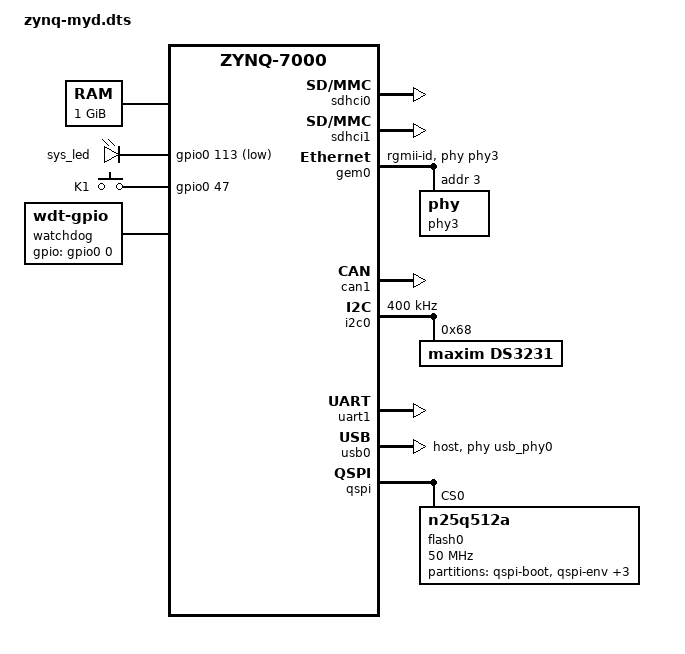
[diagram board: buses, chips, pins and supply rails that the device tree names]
// SPDX-License-Identifier: GPL-2.0+
/*
 *  Copyright (C) 2011 - 2015 Xilinx
 *  Copyright (C) 2012 National Instruments Corp.
 */
/dts-v1/;
#include "zynq-7000.dtsi"
#include "zynq-MYC-7z010_020-video.dtsi"
// #include "zynq-MYC-7z015-video.dtsi"
// #include "zynq-MYC-7z015-pcie.dtsi"

/ {
	chosen {
		bootargs = "console=ttyPS0,115200 earlyprintk root=/dev/mmcblk0p2 rw rootwait clk_ignore_unused cma=128M";
		stdout-path = "serial0:115200n8";
	};
	
    aliases {
		ethernet0 = &gem0;
		i2c0 = &i2c0;
		serial0 = &uart1;
		spi0 = &qspi;
		mmc0 = &sdhci0;
		usb0 = &usb0;
	};

    cpus {
		#address-cells = <1>;
		#size-cells = <0>;

		cpu0: cpu@0 {
			compatible = "arm,cortex-a9";
			device_type = "cpu";
			reg = <0>;
			clocks = <&clkc 4>;
			clock-latency = <1000>;
			cpu0-supply = <&regulator_vccpint>;
			operating-points = <
				/* kHz    uV */
                766666  1000000
				666667  1000000
				333334  1000000
			>;
		};

		cpu1: cpu@1 {
			compatible = "arm,cortex-a9";
			device_type = "cpu";
			reg = <1>;
			clocks = <&clkc 3>;
		};
	};

    memory@0 {
		device_type = "memory";
		reg = <0x0 0x40000000>;
	};

    gpio-leds {
		compatible = "gpio-leds";

		d2 {
			label = "sys_led";
			gpios = <&gpio0 113 0x1>;
			default-state = "on";
			linux,default-trigger = "heartbeat";
		};
	};

	gpio-keys {
		compatible = "gpio-keys";
		#address-cells = <0x1>;
		#size-cells = <0x0>;
		autorepeat;

		K1 {
			label = "K1";
			gpios = <&gpio0 47 0x0>;
			linux,code = <0x66>;
			gpio-key,wakeup;
			autorepeat;
		};
	};

	usb_phy0: phy0@e0002000 {
		compatible = "ulpi-phy";
		#phy-cells = <0>;
		reg = <0xe0002000 0x1000>;
		view-port = <0x0170>;
		drv-vbus;
	};

    watchdog: watchdog {
		compatible = "linux,wdt-gpio";
		gpios = <&gpio0 0 0x0>;
		hw_algo = "toggle";
		hw_margin_ms = <1600>;
	};
};

&sdhci0 {
	status = "okay";
    xlnx,has-cd = <0x1>;
	xlnx,has-power = <0x0>;
	xlnx,has-wp = <0x1>;
    u-boot,dm-pre-reloc;
	broken-mmc-highspeed;
	no-1-8-v;
};

&sdhci1 {
    status = "okay";
    u-boot,dm-pre-reloc;
	no-1-8-v;
    xlnx,has-cd = <0x1>;
	xlnx,has-power = <0x0>;
    xlnx,has-wp = <0x1>;
    broken-cd;
    wp-inverted;
};

&gem0 {
	local-mac-address = [00 0a 35 00 00 00];
	phy-mode = "rgmii-id";
	status = "okay";
	xlnx,ptp-enet-clock = <0x69f6bcb>;
	phy-handle = <&phy3>;

	phy3: phy@3 {
		reg = <0x3>;
	};
};

&gem1 {
	status = "disable";
	phy-mode = "rgmii-id";
	phy-handle = <&phy6>;

	phy6: phy@6 {
		// compatible = "ethernet-phy-id0022.1620"; //use Micrel phy driver
		compatible = "ethernet-phy-id0174.0c00"; //use Xilinx phy driver
		phy-reset-gpio = <&gpio0 0x6f 1>;
		xlnx,phy-type = <0x5>;
		reg = <0x6>;
	};
};

&can1 {
	status = "okay";
};

&gpio0 {
	compatible = "xlnx,zynq-gpio-1.0";
	#gpio-cells = <0x2>;
	clocks = <0x1 0x2a>;
	gpio-controller;
	interrupt-parent = <0x3>;
	interrupts = <0x0 0x14 0x4>;
	reg = <0xe000a000 0x1000>;
	emio-gpio-width = <0x40>;
	gpio-mask-high = <0x0>;
	gpio-mask-low = <0x5600>;
	xlnx,emio-gpio-width = <0x40>;
	xlnx,mio-gpio-mask = <0x5600>;
};

&i2c0 {
	compatible = "cdns,i2c-r1p10";
	status = "okay";
	clocks = <0x1 0x26>;
	interrupt-parent = <0x3>;
	interrupts = <0x0 0x19 0x4>;
	reg = <0xe0004000 0x1000>;
	#address-cells = <0x1>;
	#size-cells = <0x0>;
	clock-frequency = <0x61a80>;
	xlnx,has-interrupt = <0x1>;

	ds3231: ds3231@68 {
		compatible = "maxim,ds3231";
		reg = <0x68>;
		#clock-cells = <1>;
	};
};

&i2c1 {
	compatible = "cdns,i2c-r1p10";
	status = "disable";
	clocks = <0x1 0x27>;
	interrupt-parent = <0x3>;
	interrupts = <0x0 0x30 0x4>;
	reg = <0xe0005000 0x1000>;
	#address-cells = <0x1>;
	#size-cells = <0x0>;
	clock-frequency = <0x61a80>;
	xlnx,has-interrupt = <0x1>;
};

&uart1 {
	u-boot,dm-pre-reloc;
	status = "okay";
};

&usb0 {
	status = "okay";
	dr_mode = "host";
	usb-phy = <&usb_phy0>;
};

&qspi {
    status = "okay";
	#address-cells = <1>;
	#size-cells = <0>;
	flash0: flash@0 {
		compatible = "n25q512a","micron,m25p80", "n25q256a11";
		reg = <0x0>;
		#address-cells = <1>;
		#size-cells = <1>;
		spi-max-frequency = <50000000>;
        partition@qspi-boot {
            label = "qspi-boot";
            reg = <0x0 0x500000>;
        };
        partition@qspi-env {
            label = "qspi-env";
            reg = <0x500000 0x020000>;
        };
        partition@qspi-kernel {
            label = "qspi-kernel";
            reg = <0x520000 0x460000>;
        };
        partition@qspi-devicetree {
            label = "qspi-devicetree";
            reg = <0x980000 0x20000>;
        };
        partition@qspi-rootfs {
            label = "data";
            reg = <0x9a0000 0x600000>;
        };
	};
};
